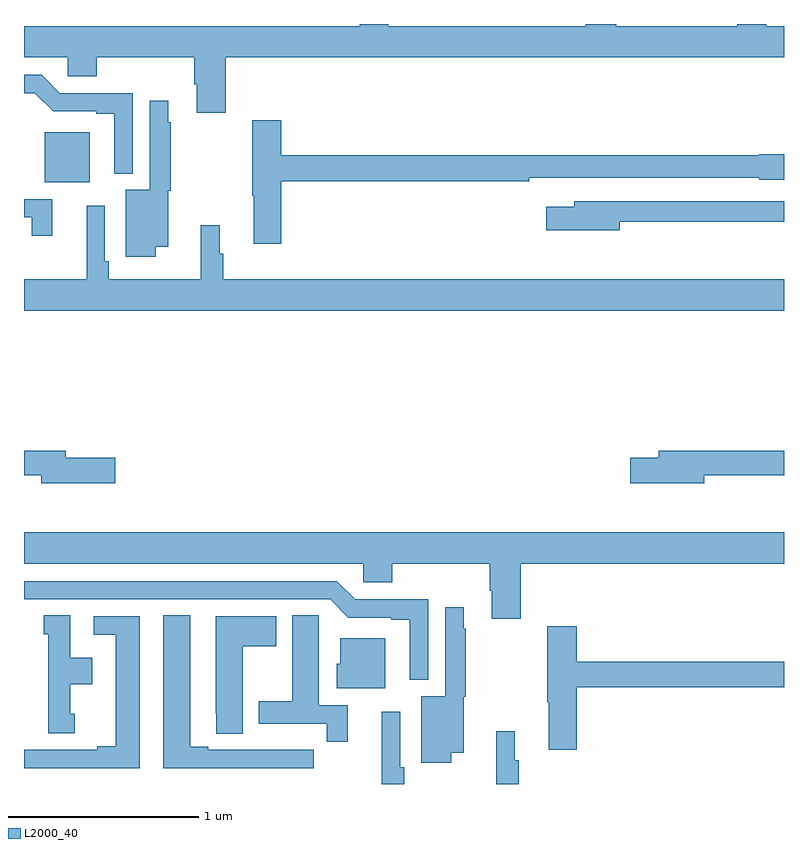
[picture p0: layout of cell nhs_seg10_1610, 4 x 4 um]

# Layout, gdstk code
import gdstk
lib = gdstk.Library(unit=1e-6, precision=1e-09)
def R(c, l, rs):  # rectangles x0, y0, x1, y1
    for r in rs: c.add(gdstk.rectangle(r[:2], r[2:], *l))
def P(c, l, *ps):  # polygons
    for p in ps: c.add(gdstk.Polygon(p, *l))
L2000_40 = (2000, 40)

nhs_seg10_1610 = lib.new_cell('nhs_seg10_1610')
R(nhs_seg10_1610, L2000_40, [(195.11,1291.667,195.346,1291.93)])
P(nhs_seg10_1610, L2000_40, [(199,1292.488),(198.906,1292.488),(198.906,1292.5),(198.755,1292.5),(198.755,1292.488),(198.116,1292.488),(198.116,1292.5),(197.956,1292.5),(197.956,1292.488),(196.918,1292.488),(196.918,1292.5),(196.766,1292.5),(196.766,1292.488),(195,1292.488),(195,1292.324),(195.231,1292.324),(195.231,1292.226),(195.383,1292.226),(195.383,1292.324),(195.896,1292.324),(195.896,1292.182),(195.908,1292.182),(195.908,1292.034),(196.061,1292.034),(196.061,1292.324),(199,1292.324)],
  [(195.573,1292.136),(195.189,1292.136),(195.093,1292.232),(195,1292.232),(195,1292.136),(195.057,1292.136),(195.153,1292.04),(195.38,1292.04),(195.38,1292.028),(195.476,1292.028),(195.476,1291.712),(195.573,1291.712)],
  [(195.694,1291.328),(195.76,1291.328),(195.76,1291.623),(195.772,1291.623),(195.772,1291.982),(195.76,1291.982),(195.76,1292.095),(195.663,1292.095),(195.663,1291.627),(195.536,1291.627),(195.536,1291.275),(195.694,1291.275)],
  [(196.355,1291.672),(197.66,1291.672),(197.66,1291.692),(198.87,1291.692),(198.87,1291.679),(199,1291.679),(199,1291.814),(198.87,1291.814),(198.87,1291.808),(196.355,1291.808),(196.355,1291.993),(196.201,1291.993),(196.201,1291.595),(196.208,1291.595),(196.208,1291.344),(196.355,1291.344)],
  [(195.149,1291.578),(195,1291.578),(195,1291.482),(195.04,1291.482),(195.04,1291.386),(195.149,1291.386)],
  [(198.136,1291.458),(199,1291.458),(199,1291.566),(197.897,1291.566),(197.897,1291.537),(197.748,1291.537),(197.748,1291.415),(198.136,1291.415)],
  [(199,1291.156),(196.049,1291.156),(196.049,1291.29),(196.03,1291.29),(196.03,1291.441),(195.931,1291.441),(195.931,1291.156),(195.446,1291.156),(195.446,1291.252),(195.426,1291.252),(195.426,1291.543),(195.329,1291.543),(195.329,1291.156),(195,1291.156),(195,1290.992),(199,1290.992)],
  [(198.58,1290.126),(199,1290.126),(199,1290.254),(198.341,1290.254),(198.341,1290.218),(198.192,1290.218),(198.192,1290.083),(198.58,1290.083)],
  [(195.481,1290.218),(195.22,1290.218),(195.22,1290.254),(195,1290.254),(195,1290.126),(195.092,1290.126),(195.092,1290.083),(195.481,1290.083)],
  [(197.615,1289.66),(199,1289.66),(199,1289.824),(195,1289.824),(195,1289.66),(196.785,1289.66),(196.785,1289.562),(196.937,1289.562),(196.937,1289.66),(197.45,1289.66),(197.45,1289.518),(197.462,1289.518),(197.462,1289.37),(197.615,1289.37)],
  [(197.127,1289.472),(196.743,1289.472),(196.647,1289.568),(195,1289.568),(195,1289.472),(196.611,1289.472),(196.707,1289.376),(196.934,1289.376),(196.934,1289.364),(197.03,1289.364),(197.03,1289.048),(197.127,1289.048)],
  [(197.248,1288.664),(197.314,1288.664),(197.314,1288.959),(197.326,1288.959),(197.326,1289.318),(197.314,1289.318),(197.314,1289.431),(197.217,1289.431),(197.217,1288.963),(197.09,1288.963),(197.09,1288.611),(197.248,1288.611)],
  [(195.268,1288.869),(195.244,1288.869),(195.244,1289.024),(195.358,1289.024),(195.358,1289.164),(195.244,1289.164),(195.244,1289.387),(195.104,1289.387),(195.104,1289.289),(195.128,1289.289),(195.128,1288.767),(195.268,1288.767)],
  [(196.703,1288.914),(196.552,1288.914),(196.552,1289.276),(196.551,1289.276),(196.551,1289.387),(196.412,1289.387),(196.412,1288.935),(196.235,1288.935),(196.235,1288.818),(196.594,1288.818),(196.594,1288.722),(196.703,1288.722)],
  [(196.525,1288.68),(196.412,1288.68),(196.412,1288.681),(196.246,1288.681),(196.246,1288.68),(195.97,1288.68),(195.97,1288.695),(195.874,1288.695),(195.874,1289.387),(195.734,1289.387),(195.734,1288.584),(196.525,1288.584)],
  [(196.15,1289.224),(196.327,1289.224),(196.327,1289.383),(196.01,1289.383),(196.01,1288.873),(196.011,1288.873),(196.011,1288.765),(196.15,1288.765)],
  [(195.61,1289.382),(195.366,1289.382),(195.366,1289.286),(195.482,1289.286),(195.482,1288.7),(195.386,1288.7),(195.386,1288.68),(195,1288.68),(195,1288.584),(195.61,1288.584)],
  [(197.909,1289.008),(199,1289.008),(199,1289.144),(197.909,1289.144),(197.909,1289.329),(197.755,1289.329),(197.755,1288.931),(197.762,1288.931),(197.762,1288.68),(197.909,1288.68)],
  [(196.9,1289.266),(196.664,1289.266),(196.664,1289.133),(196.646,1289.133),(196.646,1289.003),(196.9,1289.003)],
  [(197,1288.588),(196.98,1288.588),(196.98,1288.879),(196.883,1288.879),(196.883,1288.5),(197,1288.5)],
  [(197.603,1288.626),(197.584,1288.626),(197.584,1288.777),(197.485,1288.777),(197.485,1288.5),(197.603,1288.5)])

lib.write_gds('nhs_seg10_1610.gds')
